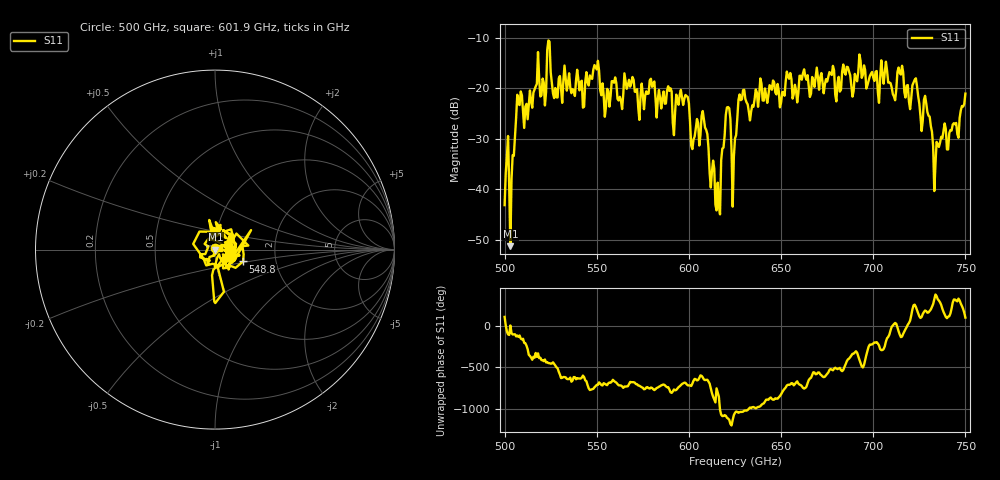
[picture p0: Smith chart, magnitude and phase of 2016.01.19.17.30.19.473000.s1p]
!Created with skrf (http://scikit-rf.org).
# GHz S RI R 50.0
!freq ReS11 ImS11
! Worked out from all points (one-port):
!   401 points, 500 GHz to 750 GHz, reference 50 ohm
!   lowest |S11| = -51.2 dB at 503.1 GHz (marker M1), VSWR 1.01, Z = 50.3 + j0.0286 ohm
!   |S11| at or under -10 dB: start of sweep to end of sweep
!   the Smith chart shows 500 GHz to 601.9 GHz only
!   S11 on the Smith chart (normalised r, x): 500 GHz: 1.00, +0.01; 548.8 GHz: 1.36, -0.18; 601.9 GHz: 1.05, +0.02
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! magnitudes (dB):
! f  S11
! 500 GHz  -43.1
! 503.1 GHz  -51.2
! 508.1 GHz  -23.3
! 521.2 GHz  -18.9
! 524.4 GHz  -10.8
! 527.5 GHz  -19.9
! 531.2 GHz  -22.9
! 541.9 GHz  -18.5
! 548.8 GHz  -15.4
! 562.5 GHz  -21.7
! 568.8 GHz  -19.0
! 593.8 GHz  -22.2
! 598.8 GHz  -21.5
! 601.9 GHz  -32.0
! 608.1 GHz  -26.2
! 615.6 GHz  -38.6
! 620.6 GHz  -23.8
! 625 GHz  -29.9
! 628.8 GHz  -22.2
! 656.2 GHz  -22.0
! 687.5 GHz  -17.4
! 705.6 GHz  -19.1
! 711.2 GHz  -21.6
! 715 GHz  -17.3
! 718.8 GHz  -19.3
! 728.8 GHz  -22.9
! 734.4 GHz  -30.6
! 750 GHz  -21.0
